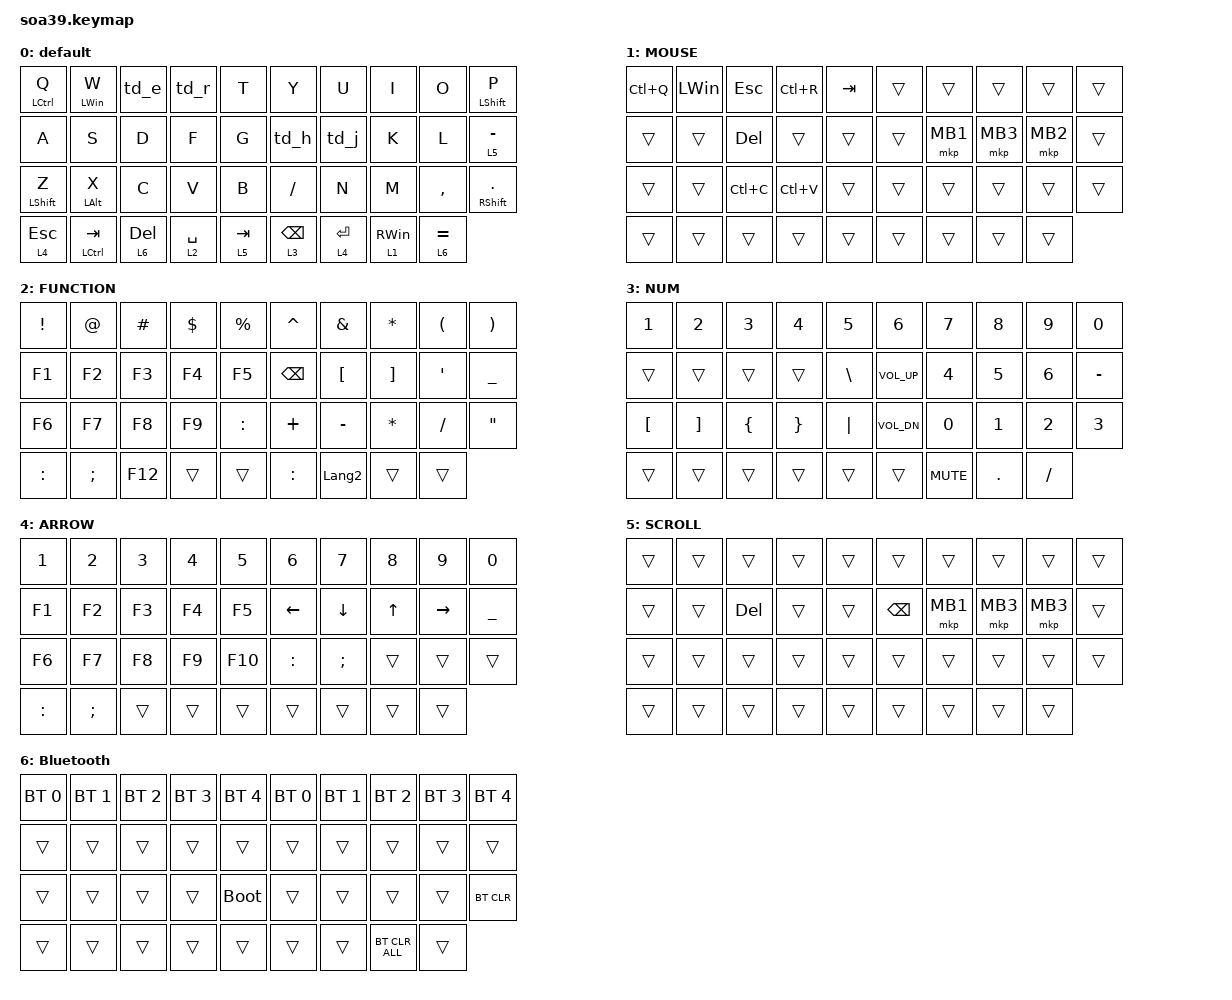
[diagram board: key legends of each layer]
/*
 * SOA39 keymap
 *
 * Base-layer custom keys:
 *   Q hold = Ctrl     W hold = Win     P hold = Shift
 *   E double-tap = Esc
 *   R double-tap = Tab
 *   J double-tap = Japanese input (LANGUAGE_1)
 *   H double-tap = English input (LANGUAGE_2)
 *
 * Layer numbers intentionally follow the SOA44 source keymap:
 *   0 Default, 1 Mouse, 2 Function, 3 Num, 4 Arrow, 5 Scroll, 6 Bluetooth
 */

#include <behaviors.dtsi>
#include <dt-bindings/zmk/bt.h>
#include <dt-bindings/zmk/keys.h>
#include <dt-bindings/zmk/pointing.h>

&mt {
    flavor = "balanced";
    quick-tap-ms = <0>;
};

/ {
    behaviors {
        /* Single tap sends the letter; double tap sends the alternate key. */

        td_e: tap_dance_e {
            compatible = "zmk,behavior-tap-dance";
            #binding-cells = <0>;
            tapping-term-ms = <200>;
            bindings = <&kp E>, <&kp ESCAPE>;
        };

        td_r: tap_dance_r {
            compatible = "zmk,behavior-tap-dance";
            #binding-cells = <0>;
            tapping-term-ms = <200>;
            bindings = <&kp R>, <&kp TAB>;
        };

        td_j: tap_dance_j {
            compatible = "zmk,behavior-tap-dance";
            #binding-cells = <0>;
            tapping-term-ms = <200>;
            bindings = <&kp J>, <&kp LANGUAGE_1>;
        };

        td_h: tap_dance_h {
            compatible = "zmk,behavior-tap-dance";
            #binding-cells = <0>;
            tapping-term-ms = <200>;
            bindings = <&kp H>, <&kp LANGUAGE_2>;
        };
    };

    combos {
        compatible = "zmk,combos";

        /* Retained from the existing SOA39 keymap: positions are SOA39 positions. */

        tab {
            bindings = <&kp TAB>;
            key-positions = <9 10>;
        };

        shift_tab {
            bindings = <&kp LS(TAB)>;
            key-positions = <10 11>;
        };

        muhennkann {
            bindings = <&to_layer_0 INT_MUHENKAN>;
            key-positions = <9 8>;
        };

        double_quotation {
            bindings = <&kp DOUBLE_QUOTES>;
            key-positions = <18 19>;
        };

        eq {
            bindings = <&kp EQUAL>;
            key-positions = <22 23>;
        };
    };

    macros {
        to_layer_0: to_layer_0 {
            compatible = "zmk,behavior-macro-one-param";
            #binding-cells = <1>;
            bindings = <&to 0 &macro_param_1to1 &kp MACRO_PLACEHOLDER>;
            label = "TO_LAYER_0";
        };
    };

    keymap {
        compatible = "zmk,keymap";

        default {
            bindings = <
&mt LEFT_CONTROL Q  &mt LEFT_WIN W  &td_e         &td_r        &kp T      &kp Y            &kp U        &kp I            &kp O        &mt LEFT_SHIFT P
&kp A               &kp S           &kp D         &kp F        &kp G      &td_h            &td_j        &kp K            &kp L        &lt 5 MINUS
&mt LEFT_SHIFT Z    &mt LEFT_ALT X  &kp C         &kp V        &kp B      &kp SLASH        &kp N        &kp M            &kp COMMA    &mt RIGHT_SHIFT PERIOD
&lt 4 ESCAPE        &mt LCTRL TAB   &lt 6 DELETE  &lt 2 SPACE  &lt 5 TAB  &lt 3 BACKSPACE  &lt 4 ENTER  &lt 1 RIGHT_WIN  &lt 6 EQUAL
            >;
        };

        MOUSE {
            bindings = <
&kp LC(Q)  &kp LEFT_WIN  &kp ESCAPE  &kp LC(R)  &kp TAB  &trans  &trans    &trans    &trans    &trans
&trans     &trans        &kp DELETE  &trans     &trans   &trans  &mkp MB1  &mkp MB3  &mkp MB2  &trans
&trans     &trans        &kp LC(C)   &kp LC(V)  &trans   &trans  &trans    &trans    &trans    &trans
&trans     &trans        &trans      &trans     &trans   &trans  &trans    &trans    &trans
            >;
        };

        FUNCTION {
            bindings = <
&kp EXCLAMATION  &kp AT_SIGN  &kp HASH  &kp DOLLAR  &kp PERCENT  &kp CARET      &kp AMPERSAND     &kp ASTERISK       &kp LEFT_PARENTHESIS  &kp RIGHT_PARENTHESIS
&kp F1           &kp F2       &kp F3    &kp F4      &kp F5       &kp BACKSPACE  &kp LEFT_BRACKET  &kp RIGHT_BRACKET  &kp SQT               &kp UNDERSCORE
&kp F6           &kp F7       &kp F8    &kp F9      &kp COLON    &kp PLUS       &kp MINUS         &kp ASTRK          &kp SLASH             &kp DOUBLE_QUOTES
&kp COLON        &kp SEMI     &kp F12   &trans      &trans       &kp COLON      &kp LANGUAGE_2    &trans             &trans
            >;
        };

        NUM {
            bindings = <
&kp N1            &kp N2             &kp N3          &kp N4           &kp N5         &kp N6           &kp N7      &kp N8      &kp N9     &kp N0
&trans            &trans             &trans          &trans           &kp BACKSLASH  &kp C_VOLUME_UP  &kp N4      &kp N5      &kp N6     &kp MINUS
&kp LEFT_BRACKET  &kp RIGHT_BRACKET  &kp LEFT_BRACE  &kp RIGHT_BRACE  &kp PIPE       &kp C_VOL_DN     &kp N0      &kp N1      &kp N2     &kp N3
&trans            &trans             &trans          &trans           &trans         &trans           &kp K_MUTE  &kp PERIOD  &kp SLASH
            >;
        };

        ARROW {
            bindings = <
&kp N1     &kp N2         &kp N3  &kp N4  &kp N5   &kp N6     &kp N7         &kp N8        &kp N9     &kp N0
&kp F1     &kp F2         &kp F3  &kp F4  &kp F5   &kp LEFT   &kp DOWN       &kp UP_ARROW  &kp RIGHT  &kp UNDERSCORE
&kp F6     &kp F7         &kp F8  &kp F9  &kp F10  &kp COLON  &kp SEMICOLON  &trans        &trans     &trans
&kp COLON  &kp SEMICOLON  &trans  &trans  &trans   &trans     &trans         &trans        &trans
            >;
        };

        SCROLL {
            bindings = <
&trans  &trans  &trans      &trans  &trans  &trans         &trans    &trans    &trans    &trans
&trans  &trans  &kp DELETE  &trans  &trans  &kp BACKSPACE  &mkp MB1  &mkp MB3  &mkp MB3  &trans
&trans  &trans  &trans      &trans  &trans  &trans         &trans    &trans    &trans    &trans
&trans  &trans  &trans      &trans  &trans  &trans         &trans    &trans    &trans
            >;
        };

        Bluetooth {
            bindings = <
&bt BT_SEL 0  &bt BT_SEL 1  &bt BT_SEL 2  &bt BT_SEL 3  &bt BT_SEL 4  &bt BT_SEL 0  &bt BT_SEL 1  &bt BT_SEL 2    &bt BT_SEL 3  &bt BT_SEL 4
&trans        &trans        &trans        &trans        &trans        &trans        &trans        &trans          &trans        &trans
&trans        &trans        &trans        &trans        &bootloader   &trans        &trans        &trans          &trans        &bt BT_CLR
&trans        &trans        &trans        &trans        &trans        &trans        &trans        &bt BT_CLR_ALL  &trans
            >;
        };
    };
};
